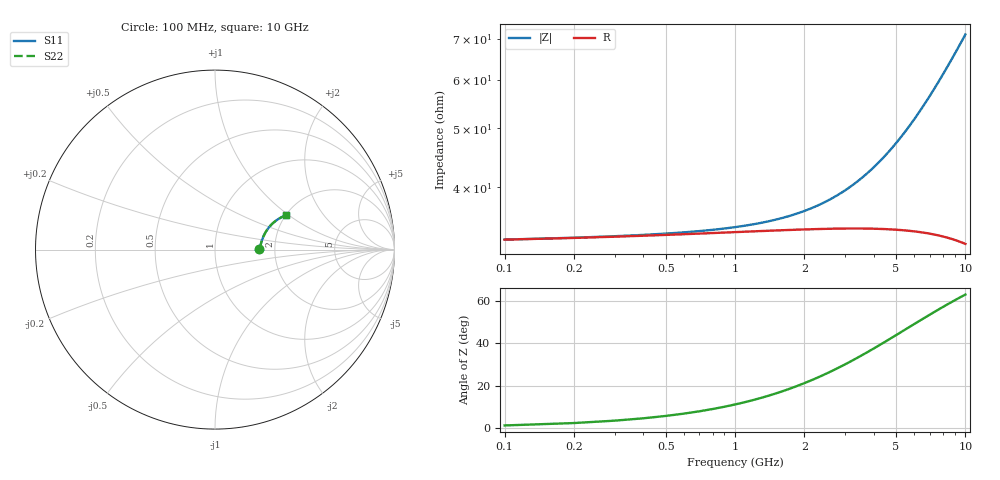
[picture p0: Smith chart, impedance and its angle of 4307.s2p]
# Hz S RI R 50.00
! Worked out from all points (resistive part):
!   100 points, 100 MHz to 10 GHz, reference 50 ohm
!   read as one part in series: R = 32.8 ohm at 100 MHz
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1e8  0.2471 0.00273  0.7529 -0.00464  0.7529 -0.00464  0.2471 0.00273
2e8  0.2484 0.00544  0.7516 -0.00925  0.7516 -0.00925  0.2484 0.00544
3e8  0.2494 0.00813  0.7506 -0.0138  0.7506 -0.0138  0.2494 0.00813
7e8  0.2523 0.0188  0.7476 -0.0321  0.7476 -0.0321  0.2523 0.0188
1.2e9  0.2557 0.0319  0.744 -0.0548  0.744 -0.0548  0.2557 0.0319
1.5e9  0.2578 0.0396  0.7417 -0.0682  0.7417 -0.0682  0.2578 0.0396
1.8e9  0.2601 0.0473  0.7392 -0.0816  0.7392 -0.0816  0.2601 0.0473
2.2e9  0.2635 0.0574  0.7355 -0.0993  0.7355 -0.0993  0.2635 0.0574
2.6e9  0.2673 0.0672  0.7313 -0.1168  0.7313 -0.1168  0.2673 0.0672
3e9  0.2715 0.0769  0.7266 -0.1341  0.7266 -0.1341  0.2715 0.0769
3.4e9  0.2761 0.0863  0.7215 -0.1512  0.7215 -0.1512  0.2761 0.0863
3.8e9  0.281 0.0954  0.7159 -0.168  0.7159 -0.168  0.281 0.0954
4.2e9  0.2864 0.1043  0.7099 -0.1845  0.7099 -0.1845  0.2864 0.1043
4.6e9  0.2922 0.1128  0.7034 -0.2007  0.7034 -0.2007  0.2922 0.1128
5.1e9  0.2999 0.1231  0.6947 -0.2205  0.6947 -0.2205  0.2999 0.1231
5.9e9  0.3133 0.1383  0.6794 -0.2511  0.6794 -0.2511  0.3133 0.1383
6.7e9  0.328 0.152  0.6627 -0.2802  0.6627 -0.2802  0.328 0.152
7.2e9  0.3376 0.1597  0.6515 -0.2977  0.6515 -0.2977  0.3376 0.1597
7.6e9  0.3456 0.1655  0.6423 -0.3111  0.6423 -0.3111  0.3456 0.1655
8.4e9  0.3623 0.1757  0.6229 -0.3369  0.6229 -0.3369  0.3623 0.1757
9.2e9  0.3795 0.1843  0.6027 -0.3611  0.6027 -0.3611  0.3795 0.1843
1e10  0.3972 0.1911  0.5817 -0.3835  0.5817 -0.3835  0.3972 0.1911
